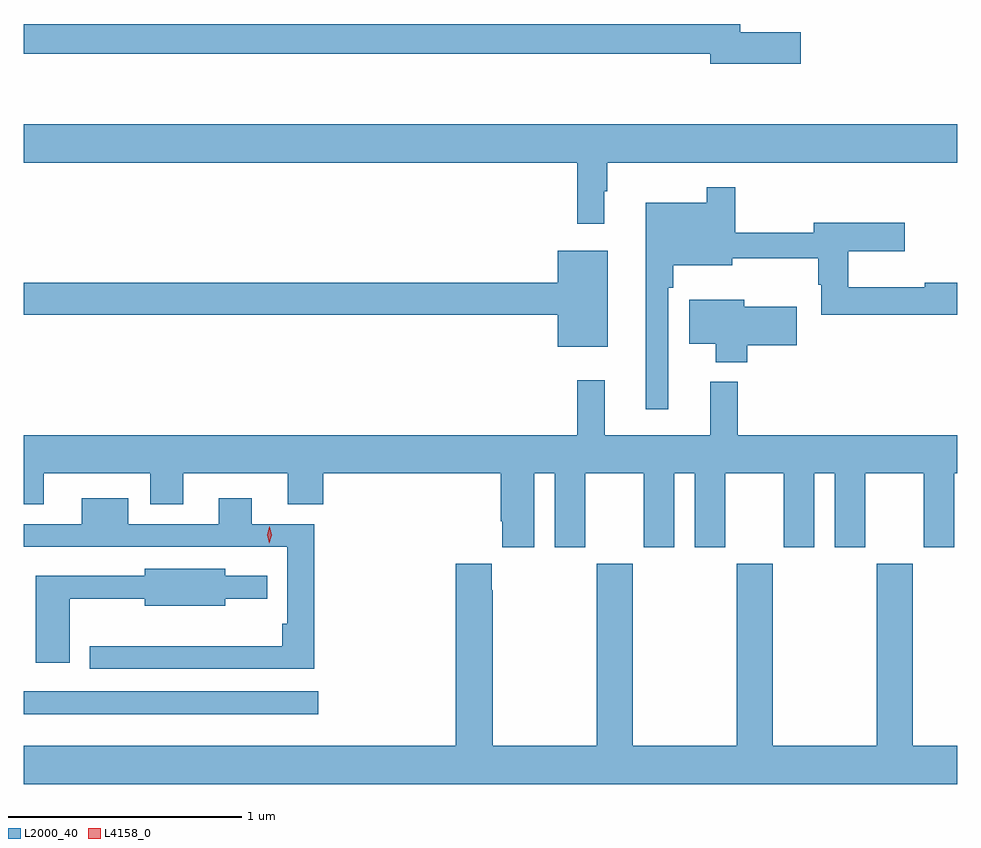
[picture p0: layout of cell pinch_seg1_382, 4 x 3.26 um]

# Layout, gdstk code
import gdstk
lib = gdstk.Library(unit=1e-6, precision=1e-09)
def R(c, l, rs):  # rectangles x0, y0, x1, y1
    for r in rs: c.add(gdstk.rectangle(r[:2], r[2:], *l))
def P(c, l, *ps):  # polygons
    for p in ps: c.add(gdstk.Polygon(p, *l))
L2000_40 = (2000, 40)
L4158_0 = (4158, 0)

pinch_seg1_382 = lib.new_cell('pinch_seg1_382')
R(pinch_seg1_382, L2000_40, [(987.354,538.712,988.615,538.809)])
P(pinch_seg1_382, L2000_40, [(990.685,541.634),(990.424,541.634),(990.424,541.67),(987.354,541.67),(987.354,541.542),(990.296,541.542),(990.296,541.499),(990.685,541.499)],
  [(989.842,540.953),(989.854,540.953),(989.854,541.076),(991.354,541.076),(991.354,541.24),(987.354,541.24),(987.354,541.076),(989.725,541.076),(989.725,540.813),(989.842,540.813)],
  [(990.117,540.539),(990.137,540.539),(990.137,540.635),(990.391,540.635),(990.391,540.665),(990.759,540.665),(990.759,540.553),(990.771,540.553),(990.771,540.424),(991.354,540.424),(991.354,540.56),(991.216,540.56),(991.216,540.541),(990.887,540.541),(990.887,540.695),(991.129,540.695),(991.129,540.817),(990.74,540.817),(990.74,540.775),(990.403,540.775),(990.403,540.97),(990.282,540.97),(990.282,540.904),(990.02,540.904),(990.02,540.018),(990.117,540.018)],
  [(989.857,540.697),(989.642,540.697),(989.642,540.56),(987.354,540.56),(987.354,540.424),(989.642,540.424),(989.642,540.287),(989.857,540.287)],
  [(990.455,540.292),(990.667,540.292),(990.667,540.457),(990.442,540.457),(990.442,540.487),(990.206,540.487),(990.206,540.299),(990.32,540.299),(990.32,540.221),(990.455,540.221)],
  [(989.542,539.744),(989.63,539.744),(989.63,539.427),(989.761,539.427),(989.761,539.744),(990.011,539.744),(990.011,539.427),(990.142,539.427),(990.142,539.744),(990.23,539.744),(990.23,539.427),(990.361,539.427),(990.361,539.744),(990.611,539.744),(990.611,539.427),(990.742,539.427),(990.742,539.744),(990.83,539.744),(990.83,539.427),(990.961,539.427),(990.961,539.744),(991.211,539.744),(991.211,539.427),(991.342,539.427),(991.342,539.744),(991.354,539.744),(991.354,539.908),(990.413,539.908),(990.413,540.136),(990.296,540.136),(990.296,539.908),(989.843,539.908),(989.843,540.142),(989.725,540.142),(989.725,539.908),(987.354,539.908),(987.354,539.611),(987.439,539.611),(987.439,539.744),(987.896,539.744),(987.896,539.611),(988.036,539.611),(988.036,539.744),(988.484,539.744),(988.484,539.611),(988.637,539.611),(988.637,539.744),(989.399,539.744),(989.399,539.539),(989.405,539.539),(989.405,539.427),(989.542,539.427)],
  [(988.598,539.526),(988.33,539.526),(988.33,539.638),(988.19,539.638),(988.19,539.526),(987.802,539.526),(987.802,539.638),(987.602,539.638),(987.602,539.526),(987.354,539.526),(987.354,539.43),(988.482,539.43),(988.482,539.098),(988.462,539.098),(988.462,539.002),(987.842,539.002),(987.842,539.003),(987.635,539.003),(987.635,538.905),(988.598,538.905)],
  [(991.354,538.576),(991.164,538.576),(991.164,539.356),(991.009,539.356),(991.009,538.576),(990.564,538.576),(990.564,539.356),(990.409,539.356),(990.409,538.576),(989.964,538.576),(989.964,539.356),(989.809,539.356),(989.809,538.576),(989.364,538.576),(989.364,539.243),(989.359,539.243),(989.359,539.356),(989.204,539.356),(989.204,538.576),(987.354,538.576),(987.354,538.412),(991.354,538.412)],
  [(987.55,539.207),(987.872,539.207),(987.872,539.177),(988.216,539.177),(988.216,539.207),(988.397,539.207),(988.397,539.304),(988.216,539.304),(988.216,539.335),(987.872,539.335),(987.872,539.304),(987.404,539.304),(987.404,538.932),(987.55,538.932)])
P(pinch_seg1_382, L4158_0, [(988.405,539.443),(988.405,539.443),(988.396,539.479),(988.406,539.514),(988.406,539.514),(988.407,539.514),(988.416,539.478),(988.405,539.443)])

lib.write_gds('pinch_seg1_382.gds')
